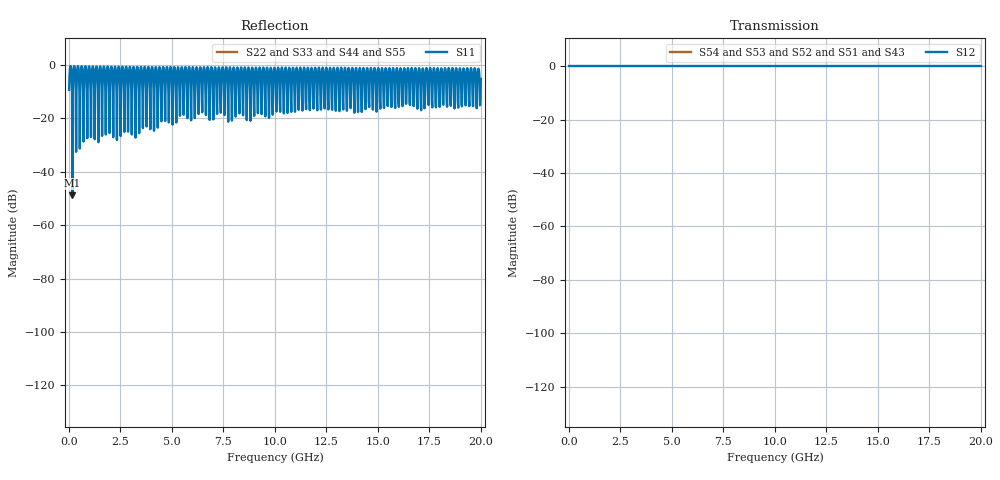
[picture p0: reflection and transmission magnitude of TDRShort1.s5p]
! File created by SignalIntegrity v1.3.3: Signal and Power Integrity Tools
! https://github.com/TeledyneLeCroy/SignalIntegrity
# MHz S MA R 50.0
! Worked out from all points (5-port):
!   1000 points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, 20 MHz to 20 GHz, reference 50 ohm
!   strongest paths, dB at 20 MHz, 5.02 GHz, 10.02 GHz, 15.02 GHz, 20 GHz:
!     S12: 0.0, 0.0, 0.0, 0.0, 0.0
!     S54: -, -, -, -, -
!     S53: -, -, -, -, -
!     S52: -, -, -, -, -
!     S51: -, -, -, -, -
!     S43: -, -, -, -, -
!   lowest |S11| = -48.9 dB at 180 MHz (marker M1), VSWR 1.01, Z = 50.1 + j0.353 ohm
!   |S11| at or under -10 dB: 699.2 MHz to 738.9 MHz (39.7 MHz wide, 5.52 % of centre); 878.7 MHz to 918.7 MHz (40.01 MHz wide, 4.45 % of centre); 1.059 GHz to 1.098 GHz (39.65 MHz wide, 3.68 % of centre) (the widest 3 of 111)
